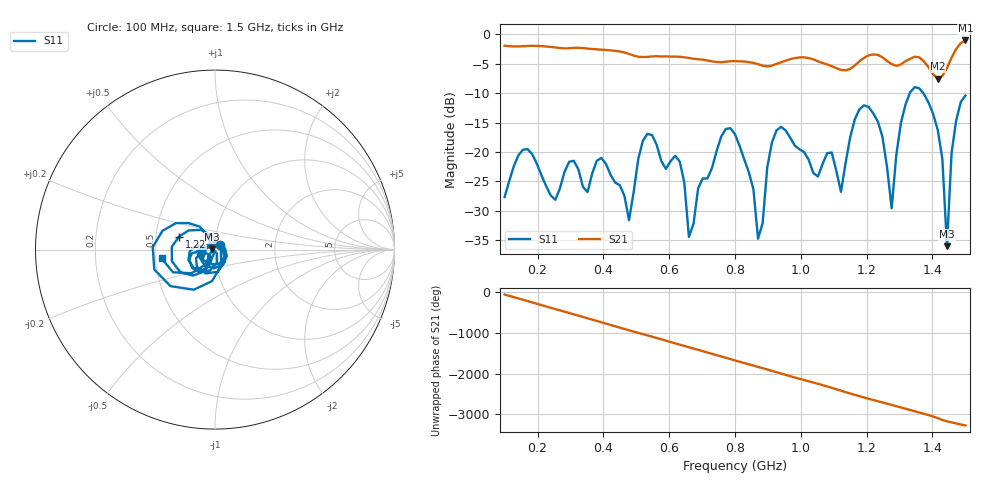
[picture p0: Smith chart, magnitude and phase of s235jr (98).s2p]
! NanoVNA-App
! Date: 2025-09-26 09:45:33
! Start: 100MHz Stop: 1,5GHz Points: 101
! S-Parameter data: F S11 S21 S12 S22
# Hz S RI R 50
!  Frequency  S11_Real  S11_Imag  S21_Real  S21_Imag  S12_Real  S12_Imag  S22_Real  S22_Imag
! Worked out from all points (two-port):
!   101 points, 100 MHz to 1.5 GHz, reference 50 ohm
!   highest |S21| = -1.06 dB at 1.5 GHz (marker M1); lowest = -7.5 dB at 1.416 GHz (marker M2)
!   |S21| within 3 dB of the highest: start of sweep to 663 MHz; 1.191 GHz to 1.251 GHz (60.03 MHz wide, 4.92 % of centre)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
!   lowest |S11| = -36.0 dB at 1.444 GHz (marker M3), VSWR 1.03, Z = 48.4 + j0.164 ohm
!   |S11| at or under -10 dB: start of sweep to 1.331 GHz; 1.372 GHz to end of sweep
!   S12 and S22 are empty: the file has one direction only
!   S11 on the Smith chart (normalised r, x): 100 MHz: 1.06, +0.06; 1.22 GHz: 0.66, +0.10; 1.5 GHz: 0.54, -0.06
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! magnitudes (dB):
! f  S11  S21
! 100 MHz  -27.6  -2.0
! 156 MHz  -19.6  -2.0
! 338 MHz  -25.9  -2.4
! 394 MHz  -21.0  -2.6
! 478 MHz  -31.6  -3.3
! 520 MHz  -18.1  -3.9
! 576 MHz  -21.5  -3.8
! 632 MHz  -21.6  -3.8
! 660 MHz  -34.4  -4.0
! 800 MHz  -17.0  -4.6
! 870 MHz  -34.7  -5.1
! 926 MHz  -16.3  -5.0
! 1.038 GHz  -23.6  -4.3
! 1.122 GHz  -26.8  -6.1
! 1.164 GHz  -14.5  -5.3
! 1.22 GHz  -13.4  -3.4
! 1.276 GHz  -29.6  -5.1
! 1.332 GHz  -9.9  -4.2
! 1.416 GHz  -16.2  -7.5
! 1.444 GHz  -36.0  -5.7
! 1.458 GHz  -20.2  -4.0
! 1.5 GHz  -10.4  -1.1
